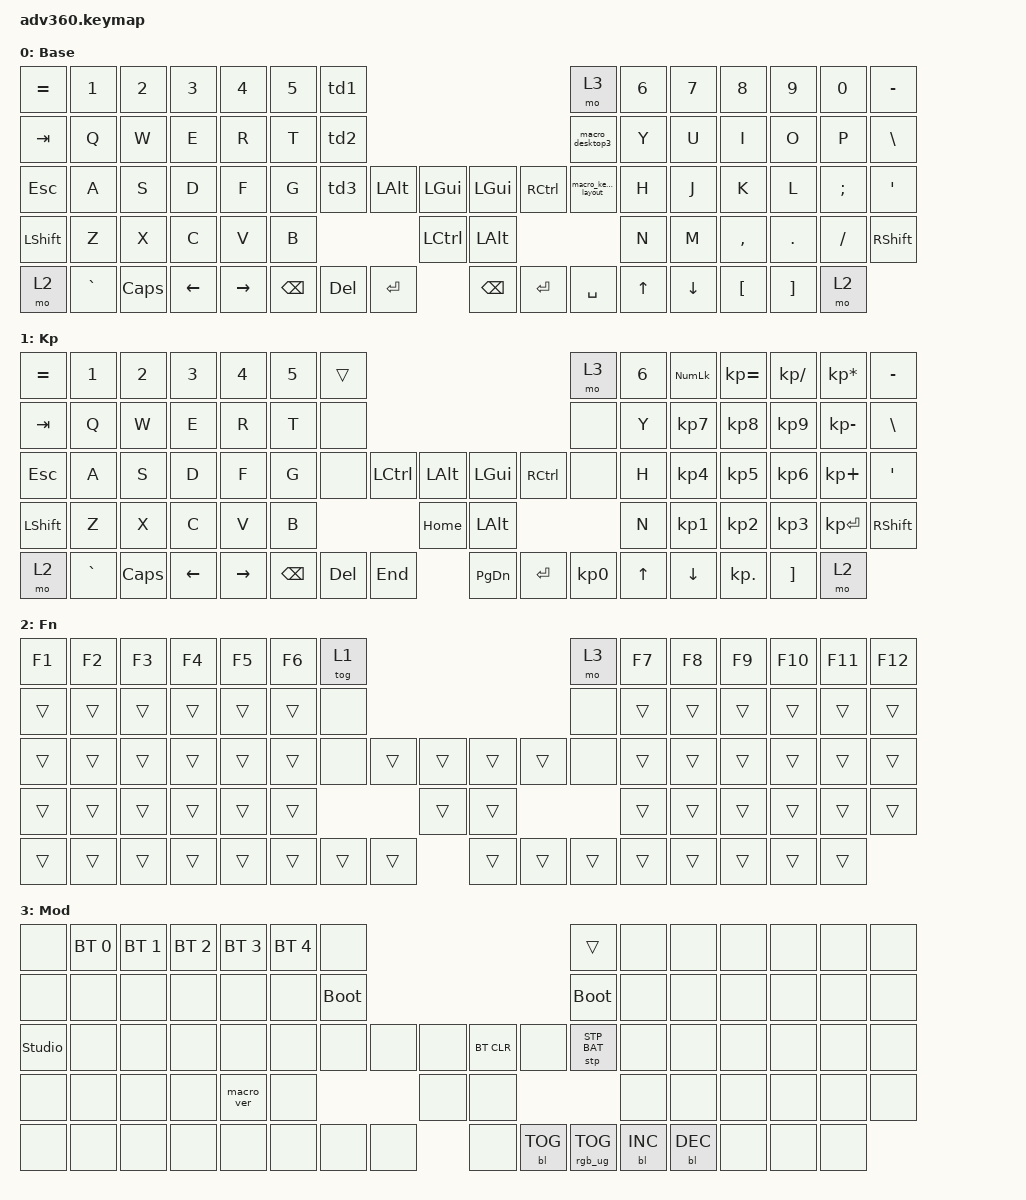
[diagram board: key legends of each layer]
#include <behaviors.dtsi>
#include <dt-bindings/zmk/keys.h>
#include <dt-bindings/zmk/bt.h>
#include <dt-bindings/zmk/rgb.h>
#include <dt-bindings/zmk/stp.h>
#include <dt-bindings/zmk/backlight.h>
#include <dt-bindings/zmk/pointing.h>

/ {
    behaviors {
      #include "macros.dtsi"
      #include "version.dtsi"

      hm: homerow_mods {
          compatible = "zmk,behavior-hold-tap";
          label = "HOMEROW_MODS";
          #binding-cells = <2>;
          tapping-term-ms = <200>;
          quick_tap_ms = <175>;
          flavor = "tap-preferred";
          bindings = <&kp>, <&kp>;
      };
      td0: tap_dance_0 {
      compatible = "zmk,behavior-tap-dance";
      label = "TAP_DANCE_0";
      #binding-cells = <0>;
      tapping-term-ms = <200>;
      bindings = <&kp TAB>, <&kp LS(TAB)>;
      };
      td1: tap_dance_1 {
          compatible = "zmk,behavior-tap-dance";
          label = "Change Desktop";
          #binding-cells = <0>;
          tapping-term-ms = <200>;
          bindings = <&kp RC(RIGHT_ARROW)>, <&kp RC(LEFT_ARROW)>;
      };
      td2: tap_dance_2 {
          compatible = "zmk,behavior-tap-dance";
          label = "Tap dance desktops";
          #binding-cells = <0>;
          tapping-term-ms = <200>;
          bindings = <&kp RC(NUMBER_1)>, <&kp RC(NUMBER_2)>, <&kp RC(NUMBER_3)>;
      };
      td3: tap_dance_3 {
          compatible = "zmk,behavior-tap-dance";
          label = "Tap dance screenshots";
          #binding-cells = <0>;
          tapping-term-ms = <200>;
          bindings = <&kp LS(LG(NUMBER_5))>,
                      <&kp LS(LG(NUMBER_4))>,
                      <&kp LS(LG(NUMBER_3))>;
      };
    };

  keymap {
    compatible = "zmk,keymap";

    default_layer {
      display-name = "Base";
      bindings = <
        &kp EQUAL &kp N1    &kp N2   &kp N3   &kp N4     &kp N5 &td1                                                               &mo 3                  &kp N6 &kp N7 &kp N8    &kp N9   &kp N0   &kp MINUS
        &kp TAB   &kp Q     &kp W    &kp E    &kp R      &kp T  &td2                                                               &macro_desktop3        &kp Y  &kp U  &kp I     &kp O    &kp P    &kp BSLH
        &kp ESC   &kp A     &kp S    &kp D    &kp F      &kp G  &td3            &kp LALT  &kp LGUI   &kp LGUI  &kp RCTRL           &macro_keyboard_layout &kp H  &kp J  &kp K     &kp L    &kp SEMI &kp SQT
        &kp LSHFT &kp Z     &kp X    &kp C    &kp V      &kp B                            &kp LCTRL  &kp LALT                                             &kp N  &kp M  &kp COMMA &kp DOT  &kp FSLH &kp RSHFT
        &mo 2     &kp GRAVE &kp CAPS &kp LEFT &kp RIGHT                &kp BSPC &kp DEL   &kp ENTER  &kp BSPC  &kp ENTER &kp SPACE                        &kp UP &kp DOWN  &kp LBKT &kp RBKT &mo 2
      >;
    };
    keypad {
      display-name = "Kp";
      bindings = <
        &kp EQUAL &kp N1    &kp N2   &kp N3   &kp N4     &kp N5 &trans                                                           &mo 3 &kp N6 &kp KP_NUM &kp KP_EQUAL &kp KP_DIVIDE &kp KP_MULTIPLY &kp MINUS
        &kp TAB   &kp Q     &kp W    &kp E    &kp R      &kp T  &none                                                            &none &kp Y  &kp KP_N7  &kp KP_N8    &kp KP_N9     &kp KP_MINUS    &kp BSLH
        &kp ESC   &kp A     &kp S    &kp D    &kp F      &kp G  &none           &kp LCTRL &kp LALT &kp LGUI  &kp RCTRL           &none &kp H  &kp KP_N4  &kp KP_N5    &kp KP_N6     &kp KP_PLUS     &kp SQT
        &kp LSHFT &kp Z     &kp X    &kp C    &kp V      &kp B                            &kp HOME &kp LALT                           &kp N  &kp KP_N1  &kp KP_N2    &kp KP_N3     &kp KP_ENTER    &kp RSHFT
        &mo 2     &kp GRAVE &kp CAPS &kp LEFT &kp RIGHT                &kp BSPC &kp DEL   &kp END  &kp PG_DN &kp ENTER &kp KP_N0              &kp UP     &kp DOWN     &kp KP_DOT    &kp RBKT        &mo 2
      >;
    };
    fn {
      display-name = "Fn";
      bindings = <
        &kp F1 &kp F2 &kp F3 &kp F4 &kp F5 &kp F6 &tog 1                                           &mo 3 &kp F7 &kp F8 &kp F9 &kp F10 &kp F11 &kp F12
        &trans &trans &trans &trans &trans &trans  &none                                           &none &trans &trans &trans &trans  &trans  &trans
        &trans &trans &trans &trans &trans &trans  &none        &trans &trans &trans &trans        &none &trans &trans &trans &trans  &trans  &trans
        &trans &trans &trans &trans &trans &trans                      &trans &trans                     &trans &trans &trans &trans  &trans  &trans
        &trans &trans &trans &trans &trans               &trans &trans &trans &trans &trans &trans              &trans &trans &trans  &trans  &trans
      >;
    };
    mod {
      display-name = "Mod";
      bindings = <
        &none &bt BT_SEL 0 &bt BT_SEL 1 &bt BT_SEL 2 &bt BT_SEL 3 &bt BT_SEL 4 &none                                                                     &trans                 &none        &none        &none        &none &none &none
        &none &none        &none        &none        &none        &none        &bootloader                                                               &bootloader            &none        &none        &none        &none &none &none
        &studio_unlock     &none        &none        &none        &none        &none                   &none &none      &none &bt BT_CLR &none                      &stp STP_BAT &none        &none        &none        &none &none &none
        &none &none        &none        &none        &macro_ver   &none                                      &none      &none &none      &none           &none        &none &none &none
        &none &none        &none        &none        &none                                       &none &none &none      &none &bl BL_TOG &rgb_ug RGB_TOG                                     &bl BL_INC   &bl BL_DEC   &none &none &none
      >;
    };

        extra1 {
            display-name = "Red";
            status = "reserved";
        };

        extra2 {
            display-name = "Purple";
            status = "reserved";
        };

        extra3 {
            display-name = "Cyan";
            status = "reserved";
        };

        extra4 {
            display-name = "Yellow";
            status = "reserved";
        };
    };
};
